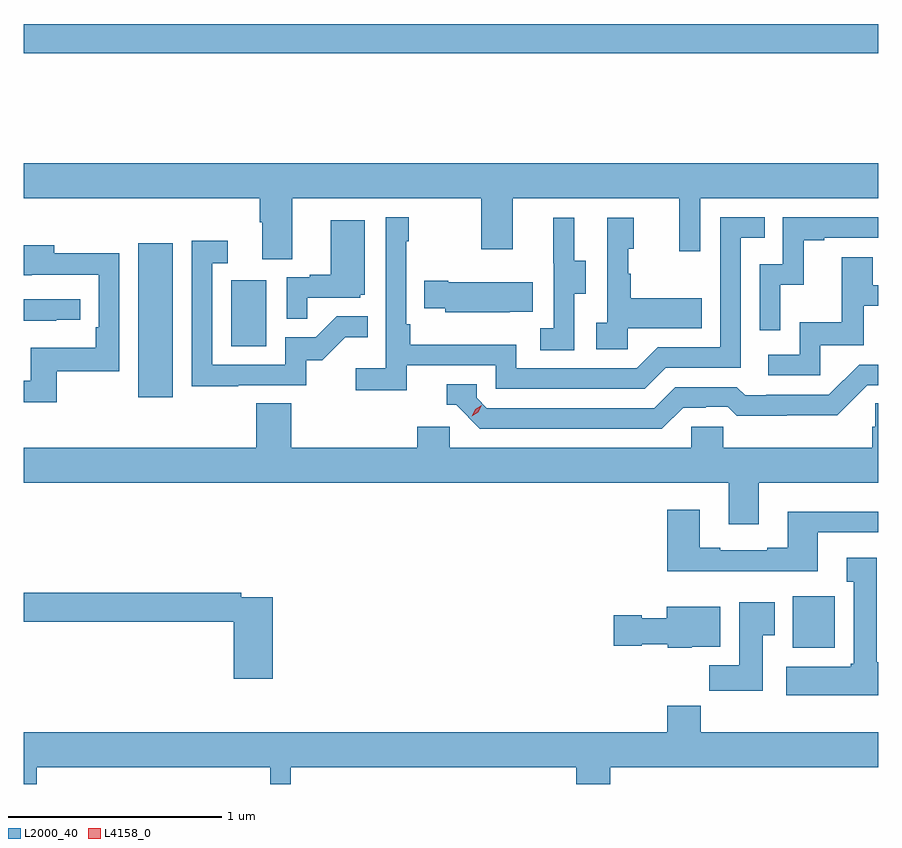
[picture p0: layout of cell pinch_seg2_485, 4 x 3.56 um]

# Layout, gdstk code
import gdstk
lib = gdstk.Library(unit=1e-6, precision=1e-09)
def R(c, l, rs):  # rectangles x0, y0, x1, y1
    for r in rs: c.add(gdstk.rectangle(r[:2], r[2:], *l))
def P(c, l, *ps):  # polygons
    for p in ps: c.add(gdstk.Polygon(p, *l))
L2000_40 = (2000, 40)
L4158_0 = (4158, 0)

pinch_seg2_485 = lib.new_cell('pinch_seg2_485')
R(pinch_seg2_485, L2000_40, [(973.367,598.91,973.564,599.152), (970.301,600.084,970.462,600.805), (970.736,600.324,970.9,600.631), (969.766,601.696,973.766,601.832)])
P(pinch_seg2_485, L2000_40, [(971.023,601.016),(971.908,601.016),(971.908,600.777),(972.055,600.777),(972.055,601.016),(972.836,601.016),(972.836,600.768),(972.933,600.768),(972.933,601.016),(973.766,601.016),(973.766,601.18),(969.766,601.18),(969.766,601.016),(970.871,601.016),(970.871,600.904),(970.883,600.904),(970.883,600.73),(971.023,600.73)],
  [(971.558,600.234),(971.976,600.234),(971.976,600.123),(972.673,600.123),(972.772,600.222),(973.122,600.222),(973.122,600.831),(973.235,600.831),(973.235,600.927),(973.026,600.927),(973.026,600.318),(972.735,600.318),(972.636,600.219),(972.072,600.219),(972.072,600.331),(971.576,600.331),(971.576,600.427),(971.556,600.427),(971.556,600.815),(971.569,600.815),(971.569,600.928),(971.46,600.928),(971.46,600.22),(971.319,600.22),(971.319,600.118),(971.558,600.118)],
  [(973.308,600.611),(973.418,600.611),(973.418,600.819),(973.513,600.819),(973.513,600.831),(973.766,600.831),(973.766,600.927),(973.32,600.927),(973.32,600.708),(973.212,600.708),(973.212,600.399),(973.308,600.399)],
  [(972.342,600.568),(972.397,600.568),(972.397,600.723),(972.343,600.723),(972.343,600.925),(972.245,600.925),(972.245,600.711),(972.246,600.711),(972.246,600.407),(972.183,600.407),(972.183,600.304),(972.342,600.304)],
  [(972.594,600.407),(972.941,600.407),(972.941,600.547),(972.607,600.547),(972.607,600.662),(972.597,600.662),(972.597,600.78),(972.622,600.78),(972.622,600.925),(972.498,600.925),(972.498,600.434),(972.447,600.434),(972.447,600.309),(972.594,600.309)],
  [(971.093,600.549),(971.34,600.549),(971.34,600.564),(971.362,600.564),(971.362,600.913),(971.204,600.913),(971.204,600.658),(971.105,600.658),(971.105,600.645),(970.998,600.645),(970.998,600.451),(971.093,600.451)],
  [(970.769,600.141),(971.088,600.141),(971.088,600.258),(971.164,600.258),(971.271,600.365),(971.375,600.365),(971.375,600.464),(971.231,600.464),(971.133,600.366),(970.989,600.366),(970.989,600.237),(970.647,600.237),(970.647,600.711),(970.72,600.711),(970.72,600.817),(970.551,600.817),(970.551,600.136),(970.769,600.136)],
  [(969.919,600.207),(970.212,600.207),(970.212,600.758),(969.907,600.758),(969.907,600.796),(969.766,600.796),(969.766,600.656),(969.803,600.656),(969.803,600.657),(970.116,600.657),(970.116,600.412),(970.103,600.412),(970.103,600.316),(969.798,600.316),(969.798,600.161),(969.766,600.161),(969.766,600.06),(969.919,600.06)],
  [(973.494,600.327),(973.699,600.327),(973.699,600.513),(973.766,600.513),(973.766,600.609),(973.741,600.609),(973.741,600.739),(973.597,600.739),(973.597,600.436),(973.398,600.436),(973.398,600.282),(973.251,600.282),(973.251,600.186),(973.494,600.186)],
  [(972.041,600.485),(972.149,600.485),(972.149,600.622),(971.752,600.622),(971.752,600.63),(971.641,600.63),(971.641,600.5),(971.739,600.5),(971.739,600.482),(972.041,600.482)],
  [(969.917,600.447),(970.03,600.447),(970.03,600.543),(969.766,600.543),(969.766,600.442),(969.917,600.442)],
  [(972.853,600.036),(972.96,600.036),(972.96,600.039),(973.063,600.039),(973.105,599.997),(973.338,599.997),(973.338,599.999),(973.574,599.999),(973.716,600.141),(973.766,600.141),(973.766,600.237),(973.677,600.237),(973.536,600.096),(973.243,600.096),(973.243,600.093),(973.144,600.093),(973.105,600.132),(972.816,600.132),(972.717,600.033),(971.934,600.033),(971.886,600.081),(971.886,600.144),(971.747,600.144),(971.747,600.048),(971.79,600.048),(971.901,599.937),(972.754,599.937)],
  [(973.207,599.684),(973.766,599.684),(973.766,600.056),(973.753,600.056),(973.753,599.946),(973.739,599.946),(973.739,599.848),(973.041,599.848),(973.041,599.946),(972.891,599.946),(972.891,599.848),(971.76,599.848),(971.76,599.946),(971.609,599.946),(971.609,599.848),(971.018,599.848),(971.018,600.056),(970.853,600.056),(970.853,599.848),(969.766,599.848),(969.766,599.684),(973.067,599.684),(973.067,599.49),(973.207,599.49)],
  [(973.483,599.451),(973.766,599.451),(973.766,599.548),(973.343,599.548),(973.343,599.38),(973.247,599.38),(973.247,599.367),(973.027,599.367),(973.027,599.38),(972.931,599.38),(972.931,599.557),(972.779,599.557),(972.779,599.27),(973.483,599.27)],
  [(973.766,598.842),(973.759,598.842),(973.759,599.332),(973.619,599.332),(973.619,599.219),(973.652,599.219),(973.652,598.836),(973.639,598.836),(973.639,598.822),(973.335,598.822),(973.335,598.688),(973.766,598.688)],
  [(970.931,599.148),(970.784,599.148),(970.784,599.168),(969.766,599.168),(969.766,599.032),(970.748,599.032),(970.748,598.767),(970.931,598.767)],
  [(973.225,598.969),(973.282,598.969),(973.282,599.125),(973.115,599.125),(973.115,598.828),(972.976,598.828),(972.976,598.71),(973.225,598.71)],
  [(972.894,598.916),(973.027,598.916),(973.027,599.104),(972.776,599.104),(972.776,599.05),(972.66,599.05),(972.66,599.063),(972.528,599.063),(972.528,598.921),(972.66,598.921),(972.66,598.928),(972.78,598.928),(972.78,598.91),(972.894,598.91)],
  [(969.825,598.352),(970.92,598.352),(970.92,598.273),(971.016,598.273),(971.016,598.352),(972.352,598.352),(972.352,598.273),(972.512,598.273),(972.512,598.352),(973.766,598.352),(973.766,598.516),(972.935,598.516),(972.935,598.64),(972.779,598.64),(972.779,598.516),(969.766,598.516),(969.766,598.273),(969.825,598.273)])
P(pinch_seg2_485, L4158_0, [(971.863,599.994),(971.863,599.995),(971.88,600.027),(971.911,600.046),(971.911,600.046),(971.911,600.046),(971.894,600.014),(971.863,599.994)])

lib.write_gds('pinch_seg2_485.gds')
